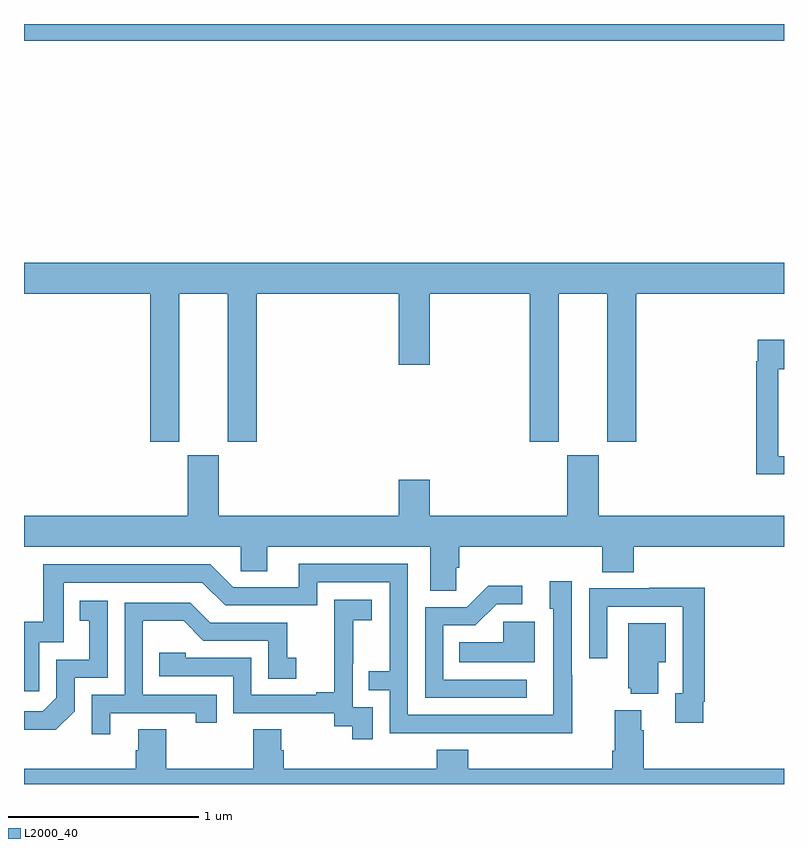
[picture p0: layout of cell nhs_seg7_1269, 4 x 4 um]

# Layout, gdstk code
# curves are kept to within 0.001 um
import gdstk
lib = gdstk.Library(unit=1e-6, precision=1e-09)
def R(c, l, rs):  # rectangles x0, y0, x1, y1
    for r in rs: c.add(gdstk.rectangle(r[:2], r[2:], *l))
def P(c, l, *ps):  # polygons
    for p in ps: c.add(gdstk.Polygon(p, *l))
L2000_40 = (2000, 40)

nhs_seg7_1269 = lib.new_cell('nhs_seg7_1269')
R(nhs_seg7_1269, L2000_40, [(199,1037.912,203,1038)])
P(nhs_seg7_1269, L2000_40, [(199.816,1036.58),(200.072,1036.58),(200.072,1035.801),(200.225,1035.801),(200.225,1036.58),(200.972,1036.58),(200.972,1036.206),(201.136,1036.206),(201.136,1036.58),(201.662,1036.58),(201.662,1035.801),(201.814,1035.801),(201.814,1036.58),(202.07,1036.58),(202.07,1035.801),(202.223,1035.801),(202.223,1036.58),(203,1036.58),(203,1036.744),(199,1036.744),(199,1036.58),(199.664,1036.58),(199.664,1035.801),(199.816,1035.801)],
  [(203,1035.726),(202.971,1035.726),(202.971,1036.183),(203,1036.183),(203,1036.339),(202.863,1036.339),(202.863,1036.226),(202.855,1036.226),(202.855,1035.629),(203,1035.629)],
  [(201.276,1035.139),(201.29,1035.139),(201.29,1035.248),(202.043,1035.248),(202.043,1035.115),(202.208,1035.115),(202.208,1035.248),(203,1035.248),(203,1035.412),(202.024,1035.412),(202.024,1035.729),(201.86,1035.729),(201.86,1035.412),(201.136,1035.412),(201.136,1035.601),(200.972,1035.601),(200.972,1035.412),(200.026,1035.412),(200.026,1035.729),(199.862,1035.729),(199.862,1035.412),(199,1035.412),(199,1035.248),(200.142,1035.248),(200.142,1035.121),(200.281,1035.121),(200.281,1035.248),(201.137,1035.248),(201.137,1035.016),(201.276,1035.016)],
  [(201.885,1034.573),(201.882,1034.573),(201.882,1035.067),(201.767,1035.067),(201.767,1034.922),(201.786,1034.922),(201.785,1034.364),(201.021,1034.364),(201.021,1035.159),(200.447,1035.159),(200.447,1035.036),(200.1,1035.036),(199.98,1035.156),(199.101,1035.156),(199.101,1034.853),(199,1034.853),(199,1034.487),(199.08,1034.487),(199.08,1034.745),(199.209,1034.745),(199.209,1035.06),(199.938,1035.06),(200.058,1034.94),(200.544,1034.94),(200.544,1035.063),(200.925,1035.063),(200.925,1034.594),(200.815,1034.594),(200.815,1034.493),(200.925,1034.493),(200.925,1034.268),(201.885,1034.267)],
  [(201.646,1034.55),(201.207,1034.55),(201.207,1034.835),(201.376,1034.835),(201.487,1034.946),(201.622,1034.946),(201.622,1035.044),(201.443,1035.044),(201.33,1034.931),(201.111,1034.931),(201.111,1034.454),(201.646,1034.454)],
  [(202.576,1034.434),(202.583,1034.434),(202.583,1035.032),(202.291,1035.032),(202.291,1035.03),(201.975,1035.03),(201.975,1034.661),(202.071,1034.661),(202.071,1034.934),(202.467,1034.934),(202.467,1034.478),(202.427,1034.478),(202.427,1034.322),(202.576,1034.322)],
  [(200.835,1034.403),(200.73,1034.403),(200.73,1034.632),(200.732,1034.632),(200.732,1034.861),(200.83,1034.861),(200.83,1034.971),(200.632,1034.971),(200.632,1034.765),(200.633,1034.765),(200.633,1034.482),(200.537,1034.482),(200.537,1034.469),(200.196,1034.469),(200.196,1034.664),(199.851,1034.664),(199.851,1034.691),(199.711,1034.691),(199.711,1034.568),(200.1,1034.568),(200.1,1034.373),(200.634,1034.373),(200.634,1034.305),(200.727,1034.305),(200.727,1034.235),(200.835,1034.235)],
  [(199.266,1034.382),(199.266,1034.559),(199.44,1034.559),(199.44,1034.965),(199.294,1034.965),(199.294,1034.859),(199.343,1034.859),(199.343,1034.655),(199.17,1034.655),(199.17,1034.454),(199.098,1034.382),(199,1034.382),(199,1034.285),(199.168,1034.285)],
  [(199.453,1034.373),(199.904,1034.373),(199.904,1034.322),(200.015,1034.322),(200.015,1034.469),(199.626,1034.469),(199.626,1034.858),(199.84,1034.858),(199.944,1034.754),(200.286,1034.754),(200.286,1034.555),(200.434,1034.555),(200.434,1034.665),(200.385,1034.665),(200.385,1034.85),(199.981,1034.85),(199.876,1034.955),(199.53,1034.955),(199.53,1034.469),(199.356,1034.469),(199.356,1034.262),(199.453,1034.262)],
  [(201.688,1034.854),(201.523,1034.854),(201.523,1034.746),(201.292,1034.746),(201.292,1034.642),(201.688,1034.642)],
  [(202.339,1034.642),(202.378,1034.642),(202.378,1034.845),(202.181,1034.845),(202.181,1034.505),(202.193,1034.505),(202.193,1034.474),(202.339,1034.474)],
  [(202.249,1034.282),(202.249,1034.389),(202.109,1034.389),(202.109,1034.176),(202.097,1034.176),(202.097,1034.08),(201.338,1034.08),(201.338,1034.179),(201.173,1034.179),(201.173,1034.08),(200.366,1034.08),(200.366,1034.178),(200.353,1034.178),(200.353,1034.288),(200.206,1034.288),(200.206,1034.08),(199.749,1034.08),(199.749,1034.288),(199.601,1034.288),(199.601,1034.178),(199.589,1034.178),(199.589,1034.08),(199,1034.08),(199,1034),(203,1034),(203,1034.08),(202.262,1034.08),(202.262,1034.282)])

lib.write_gds('nhs_seg7_1269.gds')
